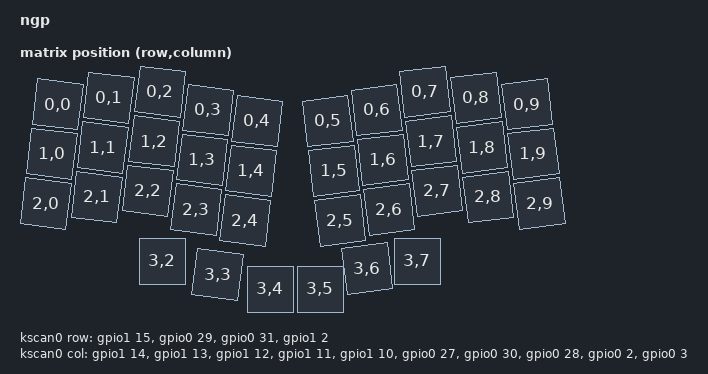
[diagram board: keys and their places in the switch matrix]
/*
 * Copyright (c) 2024 The ZMK Contributors
 *
 * SPDX-License-Identifier: MIT
 */

/dts-v1/;

#include <nordic/nrf52840_qiaa.dtsi>
#include "pinctrl.dtsi"

#include <dt-bindings/led/led.h>
#include <dt-bindings/zmk/matrix_transform.h>
#include <physical_layouts.dtsi>


/ {
    model = "ngp";
    compatible = "polarityworks,ngp";

    chosen {
        zephyr,code-partition = &code_partition;
        zephyr,sram = &sram0;
        zephyr,flash = &flash0;
        zephyr,console = &cdc_acm_uart;
        zmk,kscan = &kscan0;
        zmk,battery = &vbatt;
        zmk,physical-layout = &ten_u_layout;
        zephyr,display = &epd;
    };

    vbatt: vbatt {
        compatible = "zmk,battery-nrf-vddh";
        chg-gpios = <&gpio1 4 GPIO_ACTIVE_LOW>;
    };
    
    // Node name must match original "EXT_POWER" label to preserve user settings.
    EXT_POWER {
        compatible = "zmk,ext-power-generic";
        control-gpios = <&gpio1 6 GPIO_ACTIVE_HIGH>,
        <&gpio1 7 GPIO_ACTIVE_HIGH>;
    };

    backlight: pwmleds {
        compatible = "pwm-leds";
        pwm_led_0 {
            pwms = <&pwm0 0 10000 PWM_POLARITY_NORMAL>;
        };
    };

    keys {
        compatible = "gpio-keys";
        on_off_key: on_off_key {
            gpios = <&gpio0 26 (GPIO_ACTIVE_HIGH)>;
        };
    };

    wakeup_source: wakeup_source {
        compatible = "zmk,gpio-key-wakeup-trigger";
        extra-gpios = <&gpio1 14 GPIO_ACTIVE_HIGH>;
        trigger = <&on_off_key>;
        wakeup-source;
    };

    soft_off_wakers {
        compatible = "zmk,soft-off-wakeup-sources";
        wakeup-sources = <&wakeup_source>;
    };

    default_transform: keymap_transform_0 {
        compatible = "zmk,matrix-transform";
        columns = <10>;
        rows = <4>;
        map = <
            RC(0,0) RC(0,1) RC(0,2) RC(0,3) RC(0,4) RC(0,5) RC(0,6) RC(0,7) RC(0,8) RC(0,9)
            RC(1,0) RC(1,1) RC(1,2) RC(1,3) RC(1,4) RC(1,5) RC(1,6) RC(1,7) RC(1,8) RC(1,9)
            RC(2,0) RC(2,1) RC(2,2) RC(2,3) RC(2,4) RC(2,5) RC(2,6) RC(2,7) RC(2,8) RC(2,9)
                            RC(3,2) RC(3,3) RC(3,4) RC(3,5) RC(3,6) RC(3,7)
        >;
    };

    kscan0: kscan {
        compatible = "zmk,kscan-gpio-matrix";
        wakeup-source;
        diode-direction = "col2row";
        row-gpios
            = <&gpio1 15 (GPIO_ACTIVE_HIGH | GPIO_PULL_DOWN)>
            , <&gpio0 29 (GPIO_ACTIVE_HIGH | GPIO_PULL_DOWN)>
            , <&gpio0 31 (GPIO_ACTIVE_HIGH | GPIO_PULL_DOWN)>
            , <&gpio1 2 (GPIO_ACTIVE_HIGH | GPIO_PULL_DOWN)>
            ;

        col-gpios
            = <&gpio1 14 GPIO_ACTIVE_HIGH>
            , <&gpio1 13 GPIO_ACTIVE_HIGH>
            , <&gpio1 12 GPIO_ACTIVE_HIGH>
            , <&gpio1 11 GPIO_ACTIVE_HIGH>
            , <&gpio1 10 GPIO_ACTIVE_HIGH>
            , <&gpio0 27 GPIO_ACTIVE_HIGH>
            , <&gpio0 30 GPIO_ACTIVE_HIGH>
            , <&gpio0 28 GPIO_ACTIVE_HIGH>
            , <&gpio0 2 GPIO_ACTIVE_HIGH>
            , <&gpio0 3 GPIO_ACTIVE_HIGH>
            ;
    };

    ten_u_layout: ten_u_layout {
		compatible = "zmk,physical-layout";
		display-name = "10u";
		
		transform = <&default_transform>;
		
		keys
			= <&key_physical_attrs 100 100 000  53   700  300 338>
			, <&key_physical_attrs 100 100 100  28   700  300 338>
			, <&key_physical_attrs 100 100 200  03   700  300 338>
			, <&key_physical_attrs 100 100 300  28   700  300 338>
			, <&key_physical_attrs 100 100 400  38   700  300 338>
			, <&key_physical_attrs 100 100 600  38 (-700) 800 338>
			, <&key_physical_attrs 100 100 700  28 (-700) 800 338>
			, <&key_physical_attrs 100 100 800  03 (-700) 800 338>
			, <&key_physical_attrs 100 100 900  28 (-700) 800 338>
			, <&key_physical_attrs 100 100 1000 53 (-700) 800 338>

			, <&key_physical_attrs 100 100 000  153   700  300 338>
			, <&key_physical_attrs 100 100 100  128   700  300 338>
			, <&key_physical_attrs 100 100 200  103   700  300 338>
			, <&key_physical_attrs 100 100 300  128   700  300 338>
			, <&key_physical_attrs 100 100 400  138   700  300 338>
			, <&key_physical_attrs 100 100 600  138 (-700) 800 338>
			, <&key_physical_attrs 100 100 700  128 (-700) 800 338>
			, <&key_physical_attrs 100 100 800  103 (-700) 800 338>
			, <&key_physical_attrs 100 100 900  128 (-700) 800 338>
			, <&key_physical_attrs 100 100 1000 153 (-700) 800 338>

			, <&key_physical_attrs 100 100 000  253   700  300 338>
			, <&key_physical_attrs 100 100 100  228   700  300 338>
			, <&key_physical_attrs 100 100 200  203   700  300 338>
			, <&key_physical_attrs 100 100 300  228   700  300 338>
			, <&key_physical_attrs 100 100 400  238   700  300 338>
			, <&key_physical_attrs 100 100 600  238 (-700) 800 338>
			, <&key_physical_attrs 100 100 700  228 (-700) 800 338>
			, <&key_physical_attrs 100 100 800  203 (-700) 800 338>
			, <&key_physical_attrs 100 100 900  228 (-700) 800 338>
			, <&key_physical_attrs 100 100 1000 253 (-700) 800 338>

			, <&key_physical_attrs 100 100 239 338 0 0 0>
			, <&key_physical_attrs 100 100 350 365 700 400 415>
			, <&key_physical_attrs 100 100 455 394 0 0 0>
			, <&key_physical_attrs 100 100 555 394 0 0 0>
			, <&key_physical_attrs 100 100 650 365 (-700) 600 415>
			, <&key_physical_attrs 100 100 749 338 0 0 0>
			;
	};
};

&adc {
    status = "okay";
};

&gpiote {
    status = "okay";
};

&gpio0 {
    status = "okay";
};

&gpio1 {
    status = "okay";
};

zephyr_udc0: &usbd  {
    status = "okay";
};

// Single Colour Backlighting
&pwm0 {
    status = "okay";
    pinctrl-0 = <&pwm0_default>;
    pinctrl-1 = <&pwm0_sleep>;
    pinctrl-names = "default", "sleep";
};

// Display (to be enabled)
&spi0 {
    status = "okay";
    compatible = "nordic,nrf-spim";
    pinctrl-0 = <&spi0_default>;
    pinctrl-1 = <&spi0_sleep>;
    pinctrl-names = "default", "sleep";
    cs-gpios = <&gpio0 21 GPIO_ACTIVE_LOW>;

    epd: ssd1680@0 {
        compatible = "solomon,ssd1680";
        reg =  <0>;
        width = <88>;
        height = <184>;
        spi-max-frequency = <4000000>;
        dc-gpios = <&gpio0 23 GPIO_ACTIVE_LOW>;
        busy-gpios = <&gpio1 00 GPIO_ACTIVE_HIGH>;
        reset-gpios = <&gpio0 25 GPIO_ACTIVE_LOW>;

    };
};


&flash0 {
    /*
     * For more information, see:
     * http://docs.zephyrproject.org/latest/devices/dts/flash_partitions.html
     */
    partitions {
        compatible = "fixed-partitions";
        #address-cells = <1>;
        #size-cells = <1>;

        sd_partition: partition@0 {
            reg = <0x00000000 0x00026000>;
        };
        code_partition: partition@26000 {
            reg = <0x00026000 0x000c6000>;
        };

        /*
         * The flash starting at 0x000ec000 and ending at
         * 0x000f3fff is reserved for use by the application.
         */

        /*
         * Storage partition will be used by FCB/LittleFS/NVS
         * if enabled.
         */
        storage_partition: partition@ec000 {
            reg = <0x000ec000 0x00008000>;
        };

        boot_partition: partition@f4000 {
            reg = <0x000f4000 0x0000c000>;
        };
    };
};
